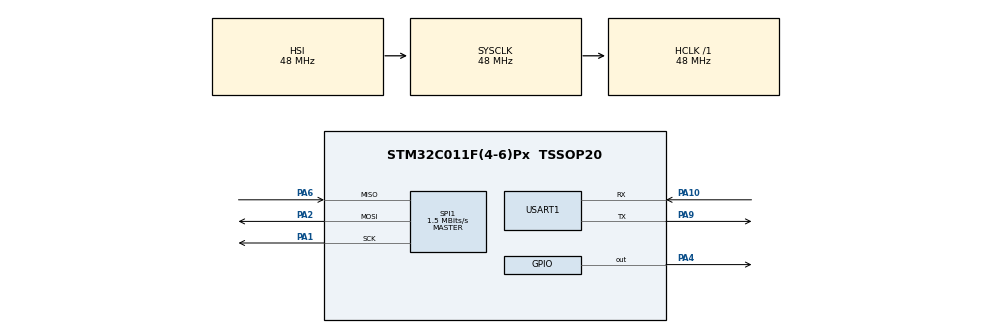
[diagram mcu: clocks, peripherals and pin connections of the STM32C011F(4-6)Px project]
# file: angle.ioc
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Mcu.Family=STM32C0
Mcu.Name=STM32C011F(4-6)Px
Mcu.Package=TSSOP20
PA1.Mode=Full_Duplex_Master
PA1.Signal=SPI1_SCK
PA10\ [PA12].Mode=Asynchronous
PA10\ [PA12].Signal=USART1_RX
PA13.Mode=Serial_Wire
PA13.Signal=DEBUG_SWDIO
PA14-BOOT0.Mode=Serial_Wire
PA14-BOOT0.Signal=DEBUG_SWCLK
PA2.Mode=Full_Duplex_Master
PA2.Signal=SPI1_MOSI
PA4.Signal=GPIO_Output
PA6.Mode=Full_Duplex_Master
PA6.Signal=SPI1_MISO
PA9\ [PA11].Mode=Asynchronous
PA9\ [PA11].Signal=USART1_TX
ProjectManager.HeapSize=0x200
ProjectManager.StackSize=0x400
ProjectManager.TargetToolchain=STM32CubeIDE
RCC.ADCFreq_Value=48000000
RCC.AHBFreq_Value=48000000
RCC.CortexFreq_Value=48000000
RCC.EXTERNAL_CLOCK_VALUE=12288000
RCC.HCLKFreq_Value=48000000
RCC.HSE_VALUE=8000000
RCC.HSISYSCLKDivider=RCC_HSI_DIV1
RCC.HSI_VALUE=48000000
RCC.LSE_VALUE=32768
RCC.SYSCLKFreq_VALUE=48000000
SPI1.BaudRatePrescaler=SPI_BAUDRATEPRESCALER_32
SPI1.CalculateBaudRate=1.5 MBits/s
SPI1.Direction=SPI_DIRECTION_2LINES
SPI1.Mode=SPI_MODE_MASTER
SPI1.VirtualType=VM_MASTER
USART1.VirtualMode-Asynchronous=VM_ASYNC
VP_SYS_VS_PINREMAP.Mode=PINREMAP
VP_SYS_VS_PINREMAP_10_12.Mode=PINREMAP_10_12
board=custom

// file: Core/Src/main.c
/* USER CODE BEGIN Header */
/**
  ******************************************************************************
  * @file           : main.c
  * @brief          : Main program body
  ******************************************************************************
  * @attention
  *
  * Copyright (c) 2024 STMicroelectronics.
  * All rights reserved.
  *
  * This software is licensed under terms that can be found in the LICENSE file
  * in the root directory of this software component.
  * If no LICENSE file comes with this software, it is provided AS-IS.
  *
  ******************************************************************************
  */
/* USER CODE END Header */
#include "main.h"

/* USER CODE BEGIN Includes */
#include "lis3dh.h"
#include "stdio.h"
#include "string.h"
#include "math.h"
/* USER CODE END Includes */

SPI_HandleTypeDef hspi1;
UART_HandleTypeDef huart1;

void SystemClock_Config(void);
static void MX_GPIO_Init(void);
static void MX_SPI1_Init(void);
static void MX_USART1_UART_Init(void);

int main(void)
{

  /* MCU Configuration--------------------------------------------------------*/

  /* Reset of all peripherals, Initializes the Flash interface and the Systick. */
  HAL_Init();

  /* Configure the system clock */
  SystemClock_Config();

  /* Initialize all configured peripherals */
  MX_GPIO_Init();
  MX_SPI1_Init();
  MX_USART1_UART_Init();
  /* USER CODE BEGIN 2 */
  HAL_GPIO_WritePin(GPIOA, GPIO_PIN_4, GPIO_PIN_SET);
  HAL_Delay(500);
  LIS3DH_Init();
  /* USER CODE END 2 */

  /* Infinite loop */
  while (1)
  {

    /* USER CODE BEGIN 3 */
	int16_t accel[3];
	char uart_buf[100];
	// Leitura aceleracao em dados brutos
	LIS3DH_ReadAccel(accel);
	int32_t  Ax = (float)accel[0] / 16384.0; // Assumindo 2g sensibilidade
	int32_t  Ay = (float)accel[1] / 16384.0;
	int32_t  Az = (float)accel[2] / 16384.0;

	// Calcula os ângulos de inclinação em graus
	int32_t theta_x = atan2(Ax, sqrt(Ay * Ay + Az * Az)) * 180.0 / M_PI;
	int32_t theta_y = atan2(Ay, sqrt(Ax * Ax + Az * Az)) * 180.0 / M_PI;
	int32_t theta_z = atan2(Az, sqrt(Ax * Ax + Ay * Ay)) * 180.0 / M_PI;

	// Mostra UART
    sprintf(uart_buf, "Angulo X: %ld graus, Angulo Y: %ld graus, Angulo Z: %ld graus\r\n", theta_x, theta_y, theta_z);
	HAL_UART_Transmit(&huart1, (uint8_t*)uart_buf, strlen(uart_buf), HAL_MAX_DELAY);
	HAL_Delay(5000); // Delay 5 segundos
  }
  /* USER CODE END 3 */
}

void SystemClock_Config(void)
{
  RCC_OscInitTypeDef RCC_OscInitStruct = {0};
  RCC_ClkInitTypeDef RCC_ClkInitStruct = {0};

  /** Initializes the RCC Oscillators according to the specified parameters
  * in the RCC_OscInitTypeDef structure.
  */
  RCC_OscInitStruct.OscillatorType = RCC_OSCILLATORTYPE_HSI;
  RCC_OscInitStruct.HSIState = RCC_HSI_ON;
  RCC_OscInitStruct.HSIDiv = RCC_HSI_DIV1;
  RCC_OscInitStruct.HSICalibrationValue = RCC_HSICALIBRATION_DEFAULT;
  if (HAL_RCC_OscConfig(&RCC_OscInitStruct) != HAL_OK)
  {
    Error_Handler();
  }

  /** Initializes the CPU, AHB and APB buses clocks
  */
  RCC_ClkInitStruct.ClockType = RCC_CLOCKTYPE_HCLK|RCC_CLOCKTYPE_SYSCLK
                              |RCC_CLOCKTYPE_PCLK1;
  RCC_ClkInitStruct.SYSCLKSource = RCC_SYSCLKSOURCE_HSI;
  RCC_ClkInitStruct.SYSCLKDivider = RCC_SYSCLK_DIV1;
  RCC_ClkInitStruct.AHBCLKDivider = RCC_HCLK_DIV1;
  RCC_ClkInitStruct.APB1CLKDivider = RCC_APB1_DIV1;

  if (HAL_RCC_ClockConfig(&RCC_ClkInitStruct, FLASH_LATENCY_1) != HAL_OK)
  {
    Error_Handler();
  }
}

static void MX_SPI1_Init(void)
{

  /* SPI1 parameter configuration*/
  hspi1.Instance = SPI1;
  hspi1.Init.Mode = SPI_MODE_MASTER;
  hspi1.Init.Direction = SPI_DIRECTION_2LINES;
  hspi1.Init.DataSize = SPI_DATASIZE_8BIT;
  hspi1.Init.CLKPolarity = SPI_POLARITY_LOW;
  hspi1.Init.CLKPhase = SPI_PHASE_1EDGE;
  hspi1.Init.NSS = SPI_NSS_SOFT;
  hspi1.Init.BaudRatePrescaler = SPI_BAUDRATEPRESCALER_32;
  hspi1.Init.FirstBit = SPI_FIRSTBIT_MSB;
  hspi1.Init.TIMode = SPI_TIMODE_DISABLE;
  hspi1.Init.CRCCalculation = SPI_CRCCALCULATION_DISABLE;
  hspi1.Init.CRCPolynomial = 7;
  hspi1.Init.CRCLength = SPI_CRC_LENGTH_DATASIZE;
  hspi1.Init.NSSPMode = SPI_NSS_PULSE_ENABLE;
  if (HAL_SPI_Init(&hspi1) != HAL_OK)
  {
    Error_Handler();
  }

}

static void MX_USART1_UART_Init(void)
{

  huart1.Instance = USART1;
  huart1.Init.BaudRate = 115200;
  huart1.Init.WordLength = UART_WORDLENGTH_8B;
  huart1.Init.StopBits = UART_STOPBITS_1;
  huart1.Init.Parity = UART_PARITY_NONE;
  huart1.Init.Mode = UART_MODE_TX_RX;
  huart1.Init.HwFlowCtl = UART_HWCONTROL_NONE;
  huart1.Init.OverSampling = UART_OVERSAMPLING_16;
  huart1.Init.OneBitSampling = UART_ONE_BIT_SAMPLE_DISABLE;
  huart1.Init.ClockPrescaler = UART_PRESCALER_DIV1;
  huart1.AdvancedInit.AdvFeatureInit = UART_ADVFEATURE_NO_INIT;
  if (HAL_UART_Init(&huart1) != HAL_OK)
  {
    Error_Handler();
  }
  if (HAL_UARTEx_SetTxFifoThreshold(&huart1, UART_TXFIFO_THRESHOLD_1_8) != HAL_OK)
  {
    Error_Handler();
  }
  if (HAL_UARTEx_SetRxFifoThreshold(&huart1, UART_RXFIFO_THRESHOLD_1_8) != HAL_OK)
  {
    Error_Handler();
  }
  if (HAL_UARTEx_DisableFifoMode(&huart1) != HAL_OK)
  {
    Error_Handler();
  }

}

static void MX_GPIO_Init(void)
{
  GPIO_InitTypeDef GPIO_InitStruct = {0};

  /* GPIO Ports Clock Enable */
  __HAL_RCC_GPIOA_CLK_ENABLE();

  /*Configure GPIO pin Output Level */
  HAL_GPIO_WritePin(GPIOA, GPIO_PIN_4, GPIO_PIN_RESET);

  /*Configure GPIO pin : PA4 */
  GPIO_InitStruct.Pin = GPIO_PIN_4;
  GPIO_InitStruct.Mode = GPIO_MODE_OUTPUT_PP;
  GPIO_InitStruct.Pull = GPIO_NOPULL;
  GPIO_InitStruct.Speed = GPIO_SPEED_FREQ_LOW;
  HAL_GPIO_Init(GPIOA, &GPIO_InitStruct);

}

void Error_Handler(void)
{
  __disable_irq();
  while (1)
  {
  }
}
